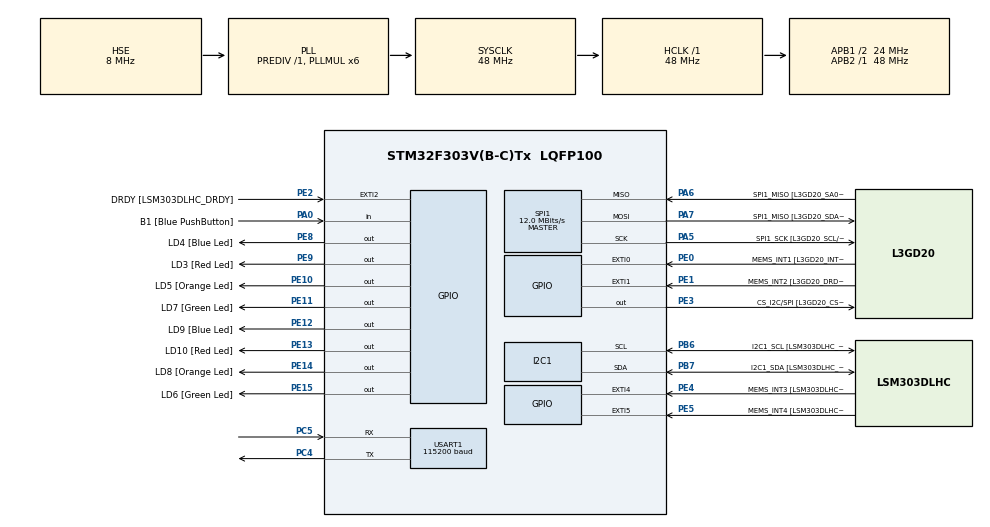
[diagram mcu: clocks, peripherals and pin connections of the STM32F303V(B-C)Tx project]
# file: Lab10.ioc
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I2C1.Timing=0x2000090E
I2C1.Timing-I2C=0x2000090E
Mcu.Family=STM32F3
Mcu.Name=STM32F303V(B-C)Tx
Mcu.Package=LQFP100
NVIC.PriorityGroup=NVIC_PRIORITYGROUP_0
PA0.GPIO_Label=B1 [Blue PushButton]
PA0.Signal=GPIO_Input
PA13.GPIO_Label=SWDIO
PA13.Mode=Serial_Wire
PA13.Signal=SYS_JTMS-SWDIO
PA14.GPIO_Label=SWCLK
PA14.Mode=Serial_Wire
PA14.Signal=SYS_JTCK-SWCLK
PA5.GPIO_Label=SPI1_SCK [L3GD20_SCL/SPC]
PA5.Mode=Full_Duplex_Master
PA5.Signal=SPI1_SCK
PA6.GPIO_Label=SPI1_MISO [L3GD20_SA0/SDO]
PA6.Mode=Full_Duplex_Master
PA6.Signal=SPI1_MISO
PA7.GPIO_Label=SPI1_MISO [L3GD20_SDA/SDI/SDO]
PA7.Mode=Full_Duplex_Master
PA7.Signal=SPI1_MOSI
PB3.GPIO_Label=SWO
PB3.Signal=SYS_JTDO-TRACESWO
PB6.GPIO_Label=I2C1_SCL [LSM303DLHC_SCL]
PB6.GPIO_Pu=GPIO_PULLUP
PB6.Mode=I2C
PB6.Signal=I2C1_SCL
PB7.GPIO_Label=I2C1_SDA [LSM303DLHC_SDA]
PB7.GPIO_Pu=GPIO_PULLUP
PB7.Mode=I2C
PB7.Signal=I2C1_SDA
PC14-OSC32_IN.GPIO_Label=OSC32_IN
PC14-OSC32_IN.Signal=RCC_OSC32_IN
PC15-OSC32_OUT.GPIO_Label=OSC32_OUT
PC15-OSC32_OUT.Signal=RCC_OSC32_OUT
PC4.Mode=Asynchronous
PC4.Signal=USART1_TX
PC5.Mode=Asynchronous
PC5.Signal=USART1_RX
PE0.GPIO_Label=MEMS_INT1 [L3GD20_INT1]
PE0.GPIO_ModeDefaultEXTI=GPIO_MODE_EVT_RISING
PE0.Signal=GPXTI0
PE1.GPIO_Label=MEMS_INT2 [L3GD20_DRDY/INT2]
PE1.GPIO_ModeDefaultEXTI=GPIO_MODE_EVT_RISING
PE1.Signal=GPXTI1
PE10.GPIO_Label=LD5 [Orange Led]
PE10.Signal=GPIO_Output
PE11.GPIO_Label=LD7 [Green Led]
PE11.Signal=GPIO_Output
PE12.GPIO_Label=LD9 [Blue Led]
PE12.Signal=GPIO_Output
PE13.GPIO_Label=LD10 [Red Led]
PE13.Signal=GPIO_Output
PE14.GPIO_Label=LD8 [Orange Led]
PE14.Signal=GPIO_Output
PE15.GPIO_Label=LD6 [Green Led]
PE15.Signal=GPIO_Output
PE2.GPIO_Label=DRDY [LSM303DLHC_DRDY]
PE2.GPIO_ModeDefaultEXTI=GPIO_MODE_EVT_RISING
PE2.Signal=GPXTI2
PE3.GPIO_Label=CS_I2C/SPI [L3GD20_CS_I2C/SPI]
PE3.Signal=GPIO_Output
PE4.GPIO_Label=MEMS_INT3 [LSM303DLHC_INT1]
PE4.GPIO_ModeDefaultEXTI=GPIO_MODE_EVT_RISING
PE4.Signal=GPXTI4
PE5.GPIO_Label=MEMS_INT4 [LSM303DLHC_INT2]
PE5.GPIO_ModeDefaultEXTI=GPIO_MODE_EVT_RISING
PE5.Signal=GPXTI5
PE8.GPIO_Label=LD4 [Blue Led]
PE8.Signal=GPIO_Output
PE9.GPIO_Label=LD3 [Red Led]
PE9.Signal=GPIO_Output
PF0-OSC_IN.GPIO_Label=OSC_IN
PF0-OSC_IN.Mode=HSE-External-Clock-Source
PF0-OSC_IN.Signal=RCC_OSC_IN
PF1-OSC_OUT.GPIO_Label=OSC_OUT
PF1-OSC_OUT.Signal=RCC_OSC_OUT
ProjectManager.HeapSize=0x200
ProjectManager.StackSize=0x400
ProjectManager.TargetToolchain=CMake
RCC.AHBFreq_Value=48000000
RCC.APB1CLKDivider=RCC_HCLK_DIV2
RCC.APB1Freq_Value=24000000
RCC.APB1TimFreq_Value=48000000
RCC.APB2Freq_Value=48000000
RCC.APB2TimFreq_Value=48000000
RCC.CortexFreq_Value=48000000
RCC.HCLKFreq_Value=48000000
RCC.HSE_VALUE=8000000
RCC.HSI_VALUE=8000000
RCC.LSE_VALUE=32768
RCC.PLLMUL=RCC_PLL_MUL6
RCC.PLLSourceVirtual=RCC_PLLSOURCE_HSE
RCC.SYSCLKFreq_VALUE=48000000
RCC.SYSCLKSourceVirtual=RCC_SYSCLKSOURCE_PLLCLK
RCC.USBFreq_Value=48000000
SPI1.BaudRatePrescaler=SPI_BAUDRATEPRESCALER_4
SPI1.BaudRatePrescaler-Full_Duplex_Master=SPI_BAUDRATEPRESCALER_2
SPI1.CalculateBaudRate=12.0 MBits/s
SPI1.CalculateBaudRate-Full_Duplex_Master=24.0 MBits/s
SPI1.Direction=SPI_DIRECTION_2LINES
SPI1.Mode=SPI_MODE_MASTER
SPI1.Mode-Full_Duplex_Master=SPI_MODE_MASTER
SPI1.VirtualType=VM_MASTER
USART1.BaudRate=115200
USART1.VirtualMode-Asynchronous=VM_ASYNC
board=STM32F3DISCOVERY

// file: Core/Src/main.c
/* USER CODE BEGIN Header */
/**
  ******************************************************************************
  * @file           : main.c
  * @brief          : Main program body
  ******************************************************************************
  * @attention
  *
  * Copyright (c) 2026 STMicroelectronics.
  * All rights reserved.
  *
  * This software is licensed under terms that can be found in the LICENSE file
  * in the root directory of this software component.
  * If no LICENSE file comes with this software, it is provided AS-IS.
  *
  ******************************************************************************
  */
/* USER CODE END Header */
#include "main.h"
#include <stdint.h>
#include <stdio.h>
#include <stdlib.h>
#include <string.h>
#include <sys/_types.h>

I2C_HandleTypeDef hi2c1;

SPI_HandleTypeDef hspi1;

UART_HandleTypeDef huart1;

void SystemClock_Config(void);
static void MX_GPIO_Init(void);
static void MX_I2C1_Init(void);
static void MX_SPI1_Init(void);
static void MX_USART1_UART_Init(void);

int main(void)
{

  /* MCU Configuration--------------------------------------------------------*/

  /* Reset of all peripherals, Initializes the Flash interface and the Systick. */
  HAL_Init();

  /* Configure the system clock */
  SystemClock_Config();

  /* Initialize all configured peripherals */
  MX_GPIO_Init();
  MX_I2C1_Init();
  MX_SPI1_Init();
  MX_USART1_UART_Init();
  /* USER CODE BEGIN 2 */
  uint32_t n = 10;
  int* ptr = malloc(n * sizeof(int));
  if (ptr == NULL) {
    // error
    char error[] = "ERROR: malloc failed for ptr\r\n";
    HAL_UART_Transmit(&huart1, (uint8_t*)error, strlen(error), HAL_MAX_DELAY);
    Error_Handler();
  }
    for (uint32_t i = 0; i < n; i++) {
      ptr[i] = i * 2;
    }
  int* ptr2 = calloc(n, sizeof(int));
  for (uint32_t i = 0; i < n; i++) {
      if (ptr2[i] != 0) {
        // error
        char error[] = "calloc failed for ptr2\r\n";
        HAL_UART_Transmit(&huart1, (uint8_t*)error, strlen(error), HAL_MAX_DELAY);
        Error_Handler();
      }
    }
    for (uint32_t i = 0; i < n; i++) {
      ptr2[i] = i + 1;
    }
  char buffer[100];
  for (uint32_t i = 0; i < n; i++) {
      snprintf(buffer, sizeof(buffer), "ptr[%u] = %d\r\n", i, ptr[i]);
      HAL_UART_Transmit(&huart1, (uint8_t*)buffer, strlen(buffer), HAL_MAX_DELAY);
    }
  for (uint32_t i = 0; i < n; i++) {
      snprintf(buffer, sizeof(buffer), "ptr2[%u] = %d\r\n", i, ptr2[i]);
      HAL_UART_Transmit(&huart1, (uint8_t*)buffer, strlen(buffer), HAL_MAX_DELAY);
    }

  free(ptr);
  free(ptr2);
  ptr = NULL;
  ptr2 = NULL;
  char success[] = "Memory allocation, initialization, and printing successful\r\n";
  HAL_UART_Transmit(&huart1, (uint8_t*)success, strlen(success), HAL_MAX_DELAY);
  /* USER CODE END 2 */

  /* Infinite loop */
  while (1)
  {

  }
}

void SystemClock_Config(void)
{
  RCC_OscInitTypeDef RCC_OscInitStruct = {0};
  RCC_ClkInitTypeDef RCC_ClkInitStruct = {0};
  RCC_PeriphCLKInitTypeDef PeriphClkInit = {0};

  /** Initializes the RCC Oscillators according to the specified parameters
  * in the RCC_OscInitTypeDef structure.
  */
  RCC_OscInitStruct.OscillatorType = RCC_OSCILLATORTYPE_HSI|RCC_OSCILLATORTYPE_HSE;
  RCC_OscInitStruct.HSEState = RCC_HSE_BYPASS;
  RCC_OscInitStruct.HSEPredivValue = RCC_HSE_PREDIV_DIV1;
  RCC_OscInitStruct.HSIState = RCC_HSI_ON;
  RCC_OscInitStruct.HSICalibrationValue = RCC_HSICALIBRATION_DEFAULT;
  RCC_OscInitStruct.PLL.PLLState = RCC_PLL_ON;
  RCC_OscInitStruct.PLL.PLLSource = RCC_PLLSOURCE_HSE;
  RCC_OscInitStruct.PLL.PLLMUL = RCC_PLL_MUL6;
  if (HAL_RCC_OscConfig(&RCC_OscInitStruct) != HAL_OK)
  {
    Error_Handler();
  }

  /** Initializes the CPU, AHB and APB buses clocks
  */
  RCC_ClkInitStruct.ClockType = RCC_CLOCKTYPE_HCLK|RCC_CLOCKTYPE_SYSCLK
                              |RCC_CLOCKTYPE_PCLK1|RCC_CLOCKTYPE_PCLK2;
  RCC_ClkInitStruct.SYSCLKSource = RCC_SYSCLKSOURCE_PLLCLK;
  RCC_ClkInitStruct.AHBCLKDivider = RCC_SYSCLK_DIV1;
  RCC_ClkInitStruct.APB1CLKDivider = RCC_HCLK_DIV2;
  RCC_ClkInitStruct.APB2CLKDivider = RCC_HCLK_DIV1;

  if (HAL_RCC_ClockConfig(&RCC_ClkInitStruct, FLASH_LATENCY_1) != HAL_OK)
  {
    Error_Handler();
  }
  PeriphClkInit.PeriphClockSelection = RCC_PERIPHCLK_USART1|RCC_PERIPHCLK_I2C1;
  PeriphClkInit.Usart1ClockSelection = RCC_USART1CLKSOURCE_PCLK2;
  PeriphClkInit.I2c1ClockSelection = RCC_I2C1CLKSOURCE_HSI;
  if (HAL_RCCEx_PeriphCLKConfig(&PeriphClkInit) != HAL_OK)
  {
    Error_Handler();
  }
}

static void MX_I2C1_Init(void)
{

  hi2c1.Instance = I2C1;
  hi2c1.Init.Timing = 0x2000090E;
  hi2c1.Init.OwnAddress1 = 0;
  hi2c1.Init.AddressingMode = I2C_ADDRESSINGMODE_7BIT;
  hi2c1.Init.DualAddressMode = I2C_DUALADDRESS_DISABLE;
  hi2c1.Init.OwnAddress2 = 0;
  hi2c1.Init.OwnAddress2Masks = I2C_OA2_NOMASK;
  hi2c1.Init.GeneralCallMode = I2C_GENERALCALL_DISABLE;
  hi2c1.Init.NoStretchMode = I2C_NOSTRETCH_DISABLE;
  if (HAL_I2C_Init(&hi2c1) != HAL_OK)
  {
    Error_Handler();
  }

  /** Configure Analogue filter
  */
  if (HAL_I2CEx_ConfigAnalogFilter(&hi2c1, I2C_ANALOGFILTER_ENABLE) != HAL_OK)
  {
    Error_Handler();
  }

  /** Configure Digital filter
  */
  if (HAL_I2CEx_ConfigDigitalFilter(&hi2c1, 0) != HAL_OK)
  {
    Error_Handler();
  }

}

static void MX_SPI1_Init(void)
{

  /* SPI1 parameter configuration*/
  hspi1.Instance = SPI1;
  hspi1.Init.Mode = SPI_MODE_MASTER;
  hspi1.Init.Direction = SPI_DIRECTION_2LINES;
  hspi1.Init.DataSize = SPI_DATASIZE_4BIT;
  hspi1.Init.CLKPolarity = SPI_POLARITY_LOW;
  hspi1.Init.CLKPhase = SPI_PHASE_1EDGE;
  hspi1.Init.NSS = SPI_NSS_SOFT;
  hspi1.Init.BaudRatePrescaler = SPI_BAUDRATEPRESCALER_4;
  hspi1.Init.FirstBit = SPI_FIRSTBIT_MSB;
  hspi1.Init.TIMode = SPI_TIMODE_DISABLE;
  hspi1.Init.CRCCalculation = SPI_CRCCALCULATION_DISABLE;
  hspi1.Init.CRCPolynomial = 7;
  hspi1.Init.CRCLength = SPI_CRC_LENGTH_DATASIZE;
  hspi1.Init.NSSPMode = SPI_NSS_PULSE_ENABLE;
  if (HAL_SPI_Init(&hspi1) != HAL_OK)
  {
    Error_Handler();
  }

}

static void MX_USART1_UART_Init(void)
{

  huart1.Instance = USART1;
  huart1.Init.BaudRate = 115200;
  huart1.Init.WordLength = UART_WORDLENGTH_8B;
  huart1.Init.StopBits = UART_STOPBITS_1;
  huart1.Init.Parity = UART_PARITY_NONE;
  huart1.Init.Mode = UART_MODE_TX_RX;
  huart1.Init.HwFlowCtl = UART_HWCONTROL_NONE;
  huart1.Init.OverSampling = UART_OVERSAMPLING_16;
  huart1.Init.OneBitSampling = UART_ONE_BIT_SAMPLE_DISABLE;
  huart1.AdvancedInit.AdvFeatureInit = UART_ADVFEATURE_NO_INIT;
  if (HAL_UART_Init(&huart1) != HAL_OK)
  {
    Error_Handler();
  }

}

static void MX_GPIO_Init(void)
{
  GPIO_InitTypeDef GPIO_InitStruct = {0};

  /* GPIO Ports Clock Enable */
  __HAL_RCC_GPIOE_CLK_ENABLE();
  __HAL_RCC_GPIOC_CLK_ENABLE();
  __HAL_RCC_GPIOF_CLK_ENABLE();
  __HAL_RCC_GPIOA_CLK_ENABLE();
  __HAL_RCC_GPIOB_CLK_ENABLE();

  /*Configure GPIO pin Output Level */
  HAL_GPIO_WritePin(GPIOE, CS_I2C_SPI_Pin|LD4_Pin|LD3_Pin|LD5_Pin
                          |LD7_Pin|LD9_Pin|LD10_Pin|LD8_Pin
                          |LD6_Pin, GPIO_PIN_RESET);

  /*Configure GPIO pins : DRDY_Pin MEMS_INT3_Pin MEMS_INT4_Pin MEMS_INT1_Pin
                           MEMS_INT2_Pin */
  GPIO_InitStruct.Pin = DRDY_Pin|MEMS_INT3_Pin|MEMS_INT4_Pin|MEMS_INT1_Pin
                          |MEMS_INT2_Pin;
  GPIO_InitStruct.Mode = GPIO_MODE_EVT_RISING;
  GPIO_InitStruct.Pull = GPIO_NOPULL;
  HAL_GPIO_Init(GPIOE, &GPIO_InitStruct);

  /*Configure GPIO pins : CS_I2C_SPI_Pin LD4_Pin LD3_Pin LD5_Pin
                           LD7_Pin LD9_Pin LD10_Pin LD8_Pin
                           LD6_Pin */
  GPIO_InitStruct.Pin = CS_I2C_SPI_Pin|LD4_Pin|LD3_Pin|LD5_Pin
                          |LD7_Pin|LD9_Pin|LD10_Pin|LD8_Pin
                          |LD6_Pin;
  GPIO_InitStruct.Mode = GPIO_MODE_OUTPUT_PP;
  GPIO_InitStruct.Pull = GPIO_NOPULL;
  GPIO_InitStruct.Speed = GPIO_SPEED_FREQ_LOW;
  HAL_GPIO_Init(GPIOE, &GPIO_InitStruct);

  /*Configure GPIO pin : B1_Pin */
  GPIO_InitStruct.Pin = B1_Pin;
  GPIO_InitStruct.Mode = GPIO_MODE_INPUT;
  GPIO_InitStruct.Pull = GPIO_NOPULL;
  HAL_GPIO_Init(B1_GPIO_Port, &GPIO_InitStruct);

}

void Error_Handler(void)
{
  __disable_irq();
  while (1)
  {
  }
}
